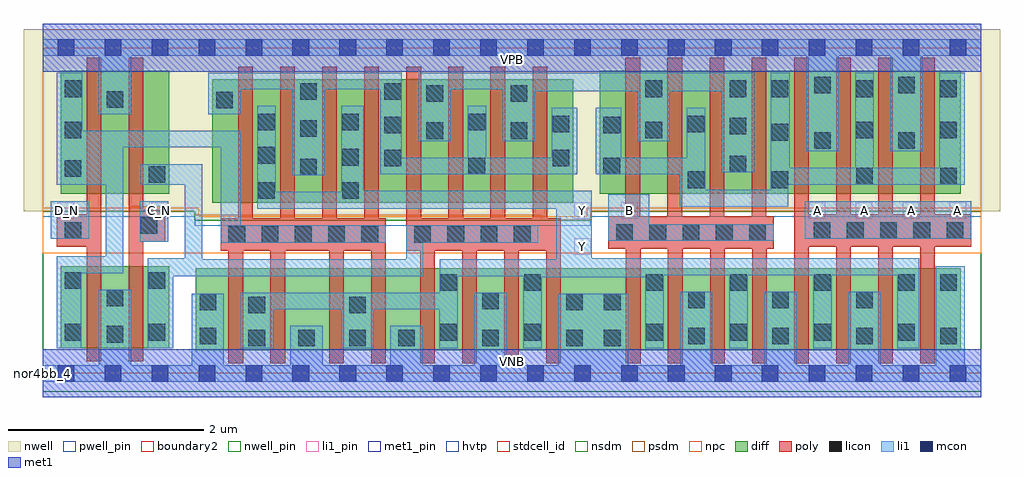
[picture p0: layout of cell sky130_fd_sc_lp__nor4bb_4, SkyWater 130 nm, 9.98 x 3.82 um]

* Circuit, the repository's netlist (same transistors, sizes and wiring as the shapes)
* Copyright 2020 The SkyWater PDK Authors
*
* Licensed under the Apache License, Version 2.0 (the "License");
* you may not use this file except in compliance with the License.
* You may obtain a copy of the License at
*
*     https://www.apache.org/licenses/LICENSE-2.0
*
* Unless required by applicable law or agreed to in writing, software
* distributed under the License is distributed on an "AS IS" BASIS,
* WITHOUT WARRANTIES OR CONDITIONS OF ANY KIND, either express or implied.
* See the License for the specific language governing permissions and
* limitations under the License.
*
* SPDX-License-Identifier: Apache-2.0

.SUBCKT sky130_fd_sc_lp__nor4bb_4 A B C_N D_N VGND VNB VPB VPWR Y
*.PININFO A:I B:I C_N:I D_N:I VGND:I VNB:I VPB:I VPWR:I Y:O
MMP0 VPWR A sndPA VPB sky130_fd_pr__pfet_01v8_hvt m=4 w=1.26U l=0.15U mult=1 sa=0.265
+ sb=0.265 sd=0.28 area=0.063 perim=1.14
MMP1 sndPA B sndPB VPB sky130_fd_pr__pfet_01v8_hvt m=4 w=1.26U l=0.15U mult=1 sa=0.265
+ sb=0.265 sd=0.28 area=0.063 perim=1.14
MMP2 sndPB C sndPC VPB sky130_fd_pr__pfet_01v8_hvt m=4 w=1.26U l=0.15U mult=1 sa=0.265
+ sb=0.265 sd=0.28 area=0.063 perim=1.14
MMP3 sndPC D Y VPB sky130_fd_pr__pfet_01v8_hvt m=4 w=1.26U l=0.15U mult=1 sa=0.265
+ sb=0.265 sd=0.28 area=0.063 perim=1.14
MMIP2 C C_N VPWR VPB sky130_fd_pr__pfet_01v8_hvt m=1 w=1.26U l=0.15U mult=1 sa=0.265
+ sb=0.265 sd=0.28 area=0.063 perim=1.14
MMIP3 D D_N VPWR VPB sky130_fd_pr__pfet_01v8_hvt m=1 w=1.26U l=0.15U mult=1 sa=0.265
+ sb=0.265 sd=0.28 area=0.063 perim=1.14
MMN0 Y A VGND VNB sky130_fd_pr__nfet_01v8 m=4 w=0.84U l=0.15U mult=1 sa=0.265 sb=0.265
+ sd=0.28 area=0.063 perim=1.14
MMN1 Y B VGND VNB sky130_fd_pr__nfet_01v8 m=4 w=0.84U l=0.15U mult=1 sa=0.265 sb=0.265
+ sd=0.28 area=0.063 perim=1.14
MMN2 Y C VGND VNB sky130_fd_pr__nfet_01v8 m=4 w=0.84U l=0.15U mult=1 sa=0.265 sb=0.265
+ sd=0.28 area=0.063 perim=1.14
MMN3 Y D VGND VNB sky130_fd_pr__nfet_01v8 m=4 w=0.84U l=0.15U mult=1 sa=0.265 sb=0.265
+ sd=0.28 area=0.063 perim=1.14
MMIN2 C C_N VGND VNB sky130_fd_pr__nfet_01v8 m=1 w=0.84U l=0.15U mult=1 sa=0.265
+ sb=0.265 sd=0.28 area=0.063 perim=1.14
MMIN3 D D_N VGND VNB sky130_fd_pr__nfet_01v8 m=1 w=0.84U l=0.15U mult=1 sa=0.265
+ sb=0.265 sd=0.28 area=0.063 perim=1.14
.ENDS sky130_fd_sc_lp__nor4bb_4

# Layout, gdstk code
import gdstk
lib = gdstk.Library(unit=1e-6, precision=1e-09)
def R(c, l, rs):  # rectangles x0, y0, x1, y1
    for r in rs: c.add(gdstk.rectangle(r[:2], r[2:], *l))
def A(c, l, x, y, w, h, nx, ny, dx, dy):  # array of equal rectangles
    R(c, l, [(x+i*dx, y+j*dy, x+i*dx+w, y+j*dy+h) for i in range(nx) for j in range(ny)])
def P(c, l, *ps):  # polygons
    for p in ps: c.add(gdstk.Polygon(p, *l))
nwell_pin = (64, 16)
nwell = (64, 20)
diff = (65, 20)
poly = (66, 20)
licon = (66, 44)
li1_pin = (67, 16)
li1 = (67, 20)
mcon = (67, 44)
met1_pin = (68, 16)
met1 = (68, 20)
hvtp = (78, 44)
stdcell_id = (81, 4)
nsdm = (93, 44)
psdm = (94, 20)
npc = (95, 20)
pwell_pin = (122, 16)
boundary2 = (236, 0)

sky130_fd_sc_lp__nor4bb_ = lib.new_cell('sky130_fd_sc_lp__nor4bb_4')
R(sky130_fd_sc_lp__nor4bb_, nwell_pin, [(0,3.085,9.6,3.33)])
P(sky130_fd_sc_lp__nor4bb_, nwell, [(9.79,3.52),(-0.19,3.52),(-0.19,1.655),(1.555,1.655),(1.555,1.565),(5.605,1.565),(5.605,1.655),(9.79,1.655)])
R(sky130_fd_sc_lp__nor4bb_, diff, [(1.565,0.235,9.39,1.075), (0.185,0.255,1.295,1.095), (1.735,1.745,5.425,3.005), (0.185,1.835,1.295,3.095), (5.695,1.835,9.39,3.095)])
P(sky130_fd_sc_lp__nor4bb_, poly, [(0.6,3.225),(0.45,3.225),(0.45,1.625),(0.145,1.625),(0.145,1.295),(0.45,1.295),(0.45,0.125),(0.6,0.125)],
  [(1.255,1.675),(1.03,1.675),(1.03,3.225),(0.88,3.225),(0.88,0.125),(1.03,0.125),(1.03,1.345),(1.255,1.345)],
  [(3.51,1.585),(3.44,1.585),(3.44,3.135),(3.29,3.135),(3.29,1.585),(3.01,1.585),(3.01,3.135),(2.86,3.135),(2.86,1.585),(2.58,1.585),(2.58,3.135),(2.43,3.135),(2.43,1.585),(2.15,1.585),(2.15,3.135),(2,3.135),(2,1.585),(1.82,1.585),(1.82,1.255),(1.9,1.255),(1.9,0.105),(2.05,0.105),(2.05,1.255),(2.33,1.255),(2.33,0.105),(2.48,0.105),(2.48,1.255),(2.93,1.255),(2.93,0.105),(3.08,0.105),(3.08,1.255),(3.36,1.255),(3.36,0.105),(3.51,0.105)],
  [(5.3,1.585),(5.16,1.585),(5.16,3.135),(5.01,3.135),(5.01,1.585),(4.73,1.585),(4.73,3.135),(4.58,3.135),(4.58,1.585),(4.3,1.585),(4.3,3.135),(4.15,3.135),(4.15,1.585),(3.87,1.585),(3.87,3.135),(3.72,3.135),(3.72,1.255),(3.86,1.255),(3.86,0.105),(4.01,0.105),(4.01,1.255),(4.29,1.255),(4.29,0.105),(4.44,0.105),(4.44,1.255),(4.72,1.255),(4.72,0.105),(4.87,0.105),(4.87,1.255),(5.15,1.255),(5.15,0.105),(5.3,0.105)],
  [(7.475,1.605),(7.4,1.605),(7.4,3.225),(7.25,3.225),(7.25,1.605),(6.97,1.605),(6.97,3.225),(6.82,3.225),(6.82,1.605),(6.54,1.605),(6.54,3.225),(6.39,3.225),(6.39,1.605),(6.11,1.605),(6.11,3.225),(5.96,3.225),(5.96,1.605),(5.785,1.605),(5.785,1.275),(5.965,1.275),(5.965,0.105),(6.115,0.105),(6.115,1.275),(6.395,1.275),(6.395,0.105),(6.545,0.105),(6.545,1.275),(6.825,1.275),(6.825,0.105),(6.975,0.105),(6.975,1.275),(7.255,1.275),(7.255,0.105),(7.405,0.105),(7.405,1.275),(7.475,1.275)],
  [(9.495,1.625),(9.125,1.625),(9.125,3.225),(8.975,3.225),(8.975,1.625),(8.695,1.625),(8.695,3.225),(8.545,3.225),(8.545,1.625),(8.265,1.625),(8.265,3.225),(8.115,3.225),(8.115,1.625),(7.835,1.625),(7.835,3.225),(7.685,3.225),(7.685,0.105),(7.835,0.105),(7.835,1.295),(8.115,1.295),(8.115,0.105),(8.265,0.105),(8.265,1.295),(8.545,1.295),(8.545,0.105),(8.695,0.105),(8.695,1.295),(8.975,1.295),(8.975,0.105),(9.125,0.105),(9.125,1.295),(9.495,1.295)])
A(sky130_fd_sc_lp__nor4bb_, licon, 3.635, 0.275, 0.17, 0.17, 3, 1, 0.86, 0)
A(sky130_fd_sc_lp__nor4bb_, licon, 6.6, 0.295, 0.17, 0.17, 4, 1, 0.86, 0)
A(sky130_fd_sc_lp__nor4bb_, licon, 6.17, 0.335, 0.17, 0.17, 4, 2, 0.86, 0.51)
A(sky130_fd_sc_lp__nor4bb_, licon, 6.6, 0.665, 0.17, 0.17, 3, 1, 0.86, 0)
A(sky130_fd_sc_lp__nor4bb_, licon, 1.9, 1.335, 0.17, 0.17, 5, 1, 0.34, 0)
A(sky130_fd_sc_lp__nor4bb_, licon, 3.8, 1.335, 0.17, 0.17, 4, 1, 0.34, 0)
A(sky130_fd_sc_lp__nor4bb_, licon, 5.865, 1.355, 0.17, 0.17, 5, 1, 0.34, 0)
A(sky130_fd_sc_lp__nor4bb_, licon, 7.885, 1.375, 0.17, 0.17, 5, 1, 0.34, 0)
A(sky130_fd_sc_lp__nor4bb_, licon, 3.495, 2.115, 0.17, 0.17, 1, 3, 0, 0.34)
R(sky130_fd_sc_lp__nor4bb_, licon, [(2.105,0.275,2.275,0.445), (2.615,0.275,2.785,0.445), (3.135,0.275,3.305,0.445), (5.74,0.275,5.91,0.445), (1.605,0.295,1.775,0.465), (0.655,0.315,0.825,0.485), (0.225,0.335,0.395,0.505), (1.085,0.335,1.255,0.505), (4.065,0.335,4.235,0.505), (4.925,0.335,5.095,0.505), (2.105,0.615,2.275,0.785), (3.135,0.615,3.305,0.785), (1.605,0.645,1.775,0.815), (5.355,0.645,5.525,0.815), (5.74,0.645,5.91,0.815), (4.495,0.655,4.665,0.825), (0.655,0.685,0.825,0.855), (4.065,0.845,4.235,1.015), (4.925,0.845,5.095,1.015), (9.18,0.845,9.35,1.015), (0.225,0.865,0.395,1.035), (1.085,0.865,1.255,1.035), (0.225,1.375,0.395,1.545), (1.005,1.425,1.175,1.595), (2.205,1.785,2.375,1.955), (3.065,1.785,3.235,1.955), (6.595,1.895,6.765,2.065), (7.455,1.895,7.625,2.065), (8.32,1.93,8.49,2.1), (9.18,1.93,9.35,2.1), (1.085,1.95,1.255,2.12), (0.225,2.01,0.395,2.18), (2.635,2.025,2.805,2.195), (4.355,2.035,4.525,2.205), (5.735,2.035,5.905,2.205), (7.025,2.055,7.195,2.225), (5.215,2.115,5.385,2.285), (3.065,2.125,3.235,2.295), (2.205,2.145,2.375,2.315), (7.89,2.295,8.06,2.465), (8.75,2.295,8.92,2.465), (7.455,2.38,7.625,2.55), (3.925,2.395,4.095,2.565), (4.785,2.395,4.955,2.565), (0.225,2.405,0.395,2.575), (6.165,2.405,6.335,2.575), (8.32,2.405,8.49,2.575), (9.18,2.405,9.35,2.575), (2.635,2.42,2.805,2.59), (7.025,2.445,7.195,2.615), (5.735,2.455,5.905,2.625), (5.215,2.465,5.385,2.635), (6.595,2.465,6.765,2.635), (2.205,2.485,2.375,2.655), (3.065,2.485,3.235,2.655), (4.355,2.485,4.525,2.655), (1.775,2.71,1.945,2.88), (0.655,2.715,0.825,2.885), (3.925,2.775,4.095,2.945), (4.785,2.775,4.955,2.945), (2.635,2.795,2.805,2.965), (0.225,2.825,0.395,2.995), (6.165,2.825,6.335,2.995), (7.025,2.825,7.195,2.995), (7.455,2.825,7.625,2.995), (8.32,2.825,8.49,2.995), (9.18,2.825,9.35,2.995), (7.89,2.865,8.06,3.035), (8.75,2.865,8.92,3.035)])
A(sky130_fd_sc_lp__nor4bb_, li1_pin, 7.835, 1.58, 0.17, 0.17, 4, 1, 0.48, 0)
R(sky130_fd_sc_lp__nor4bb_, li1_pin, [(5.435,1.21,5.605,1.38), (0.155,1.58,0.325,1.75), (1.115,1.58,1.285,1.75), (5.435,1.58,5.605,1.75), (5.915,1.58,6.085,1.75)])
R(sky130_fd_sc_lp__nor4bb_, li1, [(0.995,1.345,1.285,1.76), (0.085,1.375,0.475,1.76), (7.795,1.375,9.495,1.76)])
P(sky130_fd_sc_lp__nor4bb_, li1, [(7.475,1.525),(6.205,1.525),(6.205,1.83),(5.785,1.83),(5.785,1.355),(7.475,1.355)],
  [(3.51,1.515),(2.025,1.515),(2.025,2.48),(0.405,2.48),(0.405,3.075),(0.145,3.075),(0.145,1.93),(0.645,1.93),(0.645,1.195),(0.145,1.195),(0.145,0.255),(0.395,0.255),(0.395,1.025),(0.825,1.025),(0.825,2.31),(1.82,2.31),(1.82,1.335),(3.51,1.335)],
  [(5.07,1.515),(3.72,1.515),(3.72,1.165),(1.635,1.165),(1.635,2.14),(1.005,2.14),(1.005,1.93),(1.455,1.93),(1.455,1.175),(1.075,1.175),(1.075,0.255),(1.335,0.255),(1.335,0.995),(3.89,0.995),(3.89,1.335),(5.07,1.335)],
  [(9.43,3.075),(9.17,3.075),(9.17,2.1),(8.5,2.1),(8.5,3.075),(8.31,3.075),(8.31,2.1),(7.64,2.1),(7.64,3.075),(7.445,3.075),(7.445,1.875),(6.775,1.875),(6.775,2.715),(6.585,2.715),(6.585,2.205),(5.915,2.205),(5.915,2.715),(5.655,2.715),(5.655,2.035),(6.515,2.035),(6.515,1.705),(7.625,1.705),(7.625,1.93),(9.43,1.93)],
  [(9.6,3.415),(0,3.415),(0,3.245),(0.575,3.245),(0.575,2.65),(0.905,2.65),(0.905,3.245),(7.81,3.245),(7.81,2.27),(8.14,2.27),(8.14,3.245),(8.67,3.245),(8.67,2.27),(9,2.27),(9,3.245),(9.6,3.245)],
  [(9.6,0.085),(9.43,0.085),(9.43,1.095),(9.135,1.095),(9.135,0.085),(8.57,0.085),(8.57,0.835),(8.24,0.835),(8.24,0.085),(7.71,0.085),(7.71,0.835),(7.38,0.835),(7.38,0.085),(6.85,0.085),(6.85,0.835),(6.52,0.835),(6.52,0.085),(5.99,0.085),(5.99,0.815),(5.275,0.815),(5.275,0.085),(4.745,0.085),(4.745,0.825),(4.415,0.825),(4.415,0.085),(3.885,0.085),(3.885,0.485),(3.555,0.485),(3.555,0.085),(2.865,0.085),(2.865,0.485),(2.535,0.485),(2.535,0.085),(1.855,0.085),(1.855,0.815),(1.525,0.815),(1.525,0.085),(0.905,0.085),(0.905,0.855),(0.575,0.855),(0.575,0.085),(0,0.085),(0,-0.085),(9.6,-0.085)],
  [(8.965,1.175),(5.615,1.175),(5.615,1.865),(3.285,1.865),(3.285,2.735),(3.055,2.735),(3.055,1.855),(2.385,1.855),(2.385,2.735),(2.195,2.735),(2.195,1.685),(5.25,1.685),(5.25,1.165),(4.06,1.165),(4.06,0.825),(2.025,0.825),(2.025,0.255),(2.365,0.255),(2.365,0.655),(3.055,0.655),(3.055,0.255),(3.385,0.255),(3.385,0.655),(4.055,0.655),(4.055,0.255),(4.245,0.255),(4.245,0.995),(4.915,0.995),(4.915,0.255),(5.105,0.255),(5.105,0.985),(6.16,0.985),(6.16,0.255),(6.35,0.255),(6.35,1.005),(7.02,1.005),(7.02,0.255),(7.21,0.255),(7.21,1.005),(7.88,1.005),(7.88,0.255),(8.07,0.255),(8.07,1.005),(8.74,1.005),(8.74,0.255),(8.965,0.255)],
  [(7.275,3.075),(3.845,3.075),(3.845,2.375),(4.175,2.375),(4.175,2.905),(4.705,2.905),(4.705,2.375),(5.035,2.375),(5.035,2.885),(6.085,2.885),(6.085,2.375),(6.415,2.375),(6.415,2.885),(6.945,2.885),(6.945,2.055),(7.275,2.055)],
  [(5.465,2.715),(5.205,2.715),(5.205,2.205),(4.535,2.205),(4.535,2.735),(4.345,2.735),(4.345,2.205),(3.675,2.205),(3.675,3.075),(1.695,3.075),(1.695,2.65),(2.025,2.65),(2.025,2.905),(2.555,2.905),(2.555,2.025),(2.885,2.025),(2.885,2.905),(3.455,2.905),(3.455,2.035),(5.465,2.035)])
A(sky130_fd_sc_lp__nor4bb_, mcon, 0.155, -0.085, 0.17, 0.17, 20, 2, 0.48, 3.33)
R(sky130_fd_sc_lp__nor4bb_, met1_pin, [(0,0,9.6,0.245), (0,3.085,9.6,3.33)])
R(sky130_fd_sc_lp__nor4bb_, met1, [(0,-0.245,9.6,0.245), (0,3.085,9.6,3.575)])
P(sky130_fd_sc_lp__nor4bb_, hvtp, [(9.6,3.33),(0,3.33),(0,1.6),(1.555,1.6),(1.555,1.51),(5.605,1.51),(5.605,1.6),(9.6,1.6)])
R(sky130_fd_sc_lp__nor4bb_, stdcell_id, [(0,0,9.6,3.33)])
P(sky130_fd_sc_lp__nor4bb_, nsdm, [(9.6,1.655),(5.605,1.655),(5.605,1.565),(1.555,1.565),(1.555,1.655),(0,1.655),(0,-0.19),(9.6,-0.19)])
P(sky130_fd_sc_lp__nor4bb_, psdm, [(9.6,3.52),(0,3.52),(0,1.655),(0.895,1.655),(0.895,1.705),(1.285,1.705),(1.285,1.655),(1.555,1.655),(1.555,1.615),(5.1,1.615),(5.1,1.565),(5.605,1.565),(5.605,1.655),(9.6,1.655)])
P(sky130_fd_sc_lp__nor4bb_, npc, [(9.6,1.695),(5.565,1.695),(5.565,1.605),(1.595,1.605),(1.595,1.695),(0,1.695),(0,1.23),(9.6,1.23)])
R(sky130_fd_sc_lp__nor4bb_, pwell_pin, [(0,0,9.6,0.245)])
R(sky130_fd_sc_lp__nor4bb_, boundary2, [(0,0,9.6,3.33)])
sky130_fd_sc_lp__nor4bb_.add(gdstk.Label('VNB', (4.8,0.123), layer=64, texttype=59))
sky130_fd_sc_lp__nor4bb_.add(gdstk.Label('VPB', (4.8,3.208), layer=64, texttype=5))
sky130_fd_sc_lp__nor4bb_.add(gdstk.Label('nor4bb_4', (0,0), layer=83, texttype=44))
sky130_fd_sc_lp__nor4bb_.add(gdstk.Label('VPWR', (4.8,3.208), layer=68, texttype=5))
sky130_fd_sc_lp__nor4bb_.add(gdstk.Label('VGND', (4.8,0.123), layer=68, texttype=5))
sky130_fd_sc_lp__nor4bb_.add(gdstk.Label('A', (7.92,1.665), layer=67, texttype=5))
sky130_fd_sc_lp__nor4bb_.add(gdstk.Label('A', (8.4,1.665), layer=67, texttype=5))
sky130_fd_sc_lp__nor4bb_.add(gdstk.Label('A', (8.88,1.665), layer=67, texttype=5))
sky130_fd_sc_lp__nor4bb_.add(gdstk.Label('A', (9.36,1.665), layer=67, texttype=5))
sky130_fd_sc_lp__nor4bb_.add(gdstk.Label('B', (6,1.665), layer=67, texttype=5))
sky130_fd_sc_lp__nor4bb_.add(gdstk.Label('C_N', (1.2,1.665), layer=67, texttype=5))
sky130_fd_sc_lp__nor4bb_.add(gdstk.Label('D_N', (0.24,1.665), layer=67, texttype=5))
sky130_fd_sc_lp__nor4bb_.add(gdstk.Label('Y', (5.52,1.295), layer=67, texttype=5))
sky130_fd_sc_lp__nor4bb_.add(gdstk.Label('Y', (5.52,1.665), layer=67, texttype=5))

lib.write_gds('sky130_fd_sc_lp__nor4bb_4.gds')
